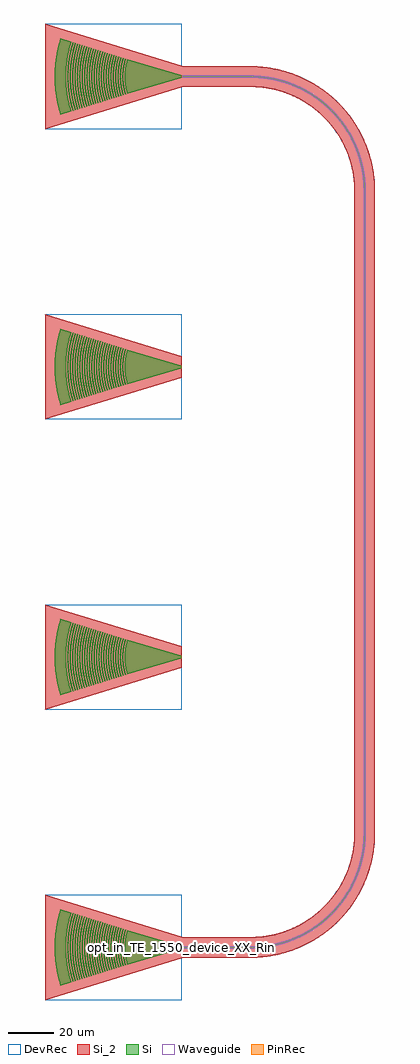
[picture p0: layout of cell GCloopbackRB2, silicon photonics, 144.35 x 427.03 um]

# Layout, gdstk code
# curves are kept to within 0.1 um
import gdstk
lib = gdstk.Library(unit=1e-6, precision=1e-09)
def R(c, l, rs):  # rectangles x0, y0, x1, y1
    for r in rs: c.add(gdstk.rectangle(r[:2], r[2:], *l))
def P(c, l, *ps):  # polygons
    for p in ps: c.add(gdstk.Polygon(p, *l))
Si = (1, 0)
Si_2 = (1, 2)
PinRec = (1, 10)
Waveguide = (1, 99)
DevRec = (68, 0)

waveguide_124 = lib.new_cell('Waveguide$124')
P(waveguide_124, Si, [(59.858,-0.5),(59.858,0.5),(90.747,0.508),(96.943,1.01),(101.737,1.946),(106.417,3.351),(110.531,5.023),(114.864,7.28),(119.668,10.482),(124.066,14.222),(127.999,18.448),(131.652,23.477),(134.455,28.523),(136.653,33.861),(138.214,39.419),(139.159,45.563),(139.358,50),(139.358,331),(139.26,334.108),(138.91,337.645),(137.803,343.31),(136.044,348.808),(133.657,354.064),(130.42,359.372),(126.841,363.902),(122.76,367.983),(118.23,371.562),(113.314,374.59),(108.903,376.69),(104.307,378.345),(99.57,379.538),(95.179,380.213),(90.303,380.498),(59.858,380.5),(59.858,381.5),(90.311,381.498),(94.385,381.297),(98.429,380.768),(102.856,379.799),(107.178,378.438),(110.949,376.885),(114.583,375.033),(118.056,372.894),(121.344,370.483),(124.756,367.502),(127.589,364.566),(130.174,361.412),(132.496,358.059),(134.751,354.128),(136.643,350.011),(138.025,346.173),(139.092,342.237),(139.9,337.779),(140.228,334.623),(140.358,331),(140.358,50),(140.155,45.473),(139.285,39.648),(137.599,33.535),(135.159,27.681),(132.252,22.56),(128.769,17.81),(124.756,13.498),(120.27,9.684),(114.976,6.19),(110.122,3.744),(105.464,1.972),(100.653,0.668),(95.737,-0.157),(90.311,-0.498)])
P(waveguide_124, Si_2, [(59.858,-4.5),(59.858,4.5),(90.676,4.507),(96.372,4.969),(101.57,6.033),(106.226,7.546),(111.059,9.741),(115.259,12.25),(119.487,15.469),(123.025,18.853),(126.18,22.596),(129.126,27.016),(131.367,31.367),(133.132,35.942),(134.392,40.674),(135.175,45.924),(135.358,50),(135.358,331),(135.094,335.893),(134.216,341.128),(132.737,346.222),(130.85,350.744),(128.494,355.031),(125.432,359.368),(122.175,363.029),(118.226,366.574),(113.889,369.636),(109.227,372.171),(105.843,373.6),(101.962,374.861),(97.979,375.769),(93.934,376.317),(90.267,376.498),(59.858,376.5),(59.858,385.5),(90.347,385.498),(94.746,385.281),(99.111,384.709),(103.884,383.665),(108.55,382.195),(112.619,380.52),(116.541,378.521),(120.293,376.21),(123.838,373.61),(127.519,370.394),(130.577,367.225),(133.37,363.818),(135.874,360.202),(138.307,355.959),(140.349,351.517),(141.84,347.377),(142.992,343.124),(143.797,338.798),(144.218,334.908),(144.358,331),(144.358,50),(144.139,45.112),(143.725,41.718),(143.098,38.35),(141.381,32.234),(138.962,26.356),(135.874,20.798),(133.948,17.964),(131.852,15.262),(127.519,10.606),(122.676,6.488),(117.392,2.966),(112.619,0.48),(107.624,-1.523),(102.459,-3.024),(96.691,-4.07),(90.347,-4.498)])
P(waveguide_124, Waveguide, [(59.858,-0.5),(59.858,0.5),(90.747,0.508),(96.943,1.01),(101.737,1.946),(106.417,3.351),(110.531,5.023),(114.864,7.28),(119.668,10.482),(124.066,14.222),(127.999,18.448),(131.652,23.477),(134.455,28.523),(136.653,33.861),(138.214,39.419),(139.159,45.563),(139.358,50),(139.358,331),(139.26,334.108),(138.91,337.645),(137.803,343.31),(136.044,348.808),(133.657,354.064),(130.42,359.372),(126.841,363.902),(122.76,367.983),(118.23,371.562),(113.314,374.59),(108.903,376.69),(104.307,378.345),(99.57,379.538),(95.179,380.213),(90.303,380.498),(59.858,380.5),(59.858,381.5),(90.311,381.498),(94.385,381.297),(98.429,380.768),(102.856,379.799),(107.178,378.438),(110.949,376.885),(114.583,375.033),(118.056,372.894),(121.344,370.483),(124.756,367.502),(127.589,364.566),(130.174,361.412),(132.496,358.059),(134.751,354.128),(136.643,350.011),(138.025,346.173),(139.092,342.237),(139.9,337.779),(140.228,334.623),(140.358,331),(140.358,50),(140.155,45.473),(139.285,39.648),(137.599,33.535),(135.159,27.681),(132.252,22.56),(128.769,17.81),(124.756,13.498),(120.27,9.684),(114.976,6.19),(110.122,3.744),(105.464,1.972),(100.653,0.668),(95.737,-0.157),(90.311,-0.498)])
P(waveguide_124, DevRec, [(59.858,-4.5),(59.858,4.5),(89.855,4.5),(92.321,4.566),(96,4.917),(100.838,5.845),(103.215,6.504),(106.7,7.732),(111.169,9.799),(115.392,12.341),(119.314,15.322),(122.892,18.71),(126.08,22.464),(128.845,26.542),(131.153,30.895),(133.354,36.643),(134.542,41.425),(135.208,46.308),(135.358,50),(135.358,331),(135.091,335.919),(134.294,340.782),(132.977,345.528),(131.153,350.105),(128.845,354.458),(126.08,358.536),(122.892,362.29),(121.148,364.034),(118.363,366.464),(114.361,369.338),(110.075,371.762),(105.548,373.709),(102.031,374.841),(98.433,375.684),(93.55,376.35),(89.855,376.5),(59.858,376.5),(59.858,385.5),(89.861,385.5),(94.282,385.32),(98.675,384.782),(103.012,383.889),(107.26,382.647),(111.394,381.065),(115.387,379.151),(119.211,376.92),(122.84,374.388),(127.338,370.566),(130.426,367.393),(133.246,363.982),(136.557,359.098),(138.684,355.215),(140.488,351.172),(141.958,346.995),(143.084,342.716),(143.859,338.358),(144.278,333.951),(144.358,331),(144.358,50),(144.178,45.576),(143.382,39.731),(141.958,34.005),(139.923,28.464),(138.684,25.785),(136.557,21.902),(133.246,17.018),(130.426,13.607),(128.395,11.463),(126.251,9.432),(122.84,6.612),(117.956,3.301),(114.073,1.174),(108.652,-1.157),(103.012,-2.889),(97.216,-4.001),(92.809,-4.42),(89.861,-4.5)])
waveguide_124.add(gdstk.FlexPath([(59.868,0),(59.848,0)], 1, ends="flush", simple_path=True, layer=1, datatype=10))  # PinRec
waveguide_124.add(gdstk.FlexPath([(59.868,381),(59.848,381)], 1, ends="flush", simple_path=True, layer=1, datatype=10))  # PinRec
waveguide_124.add(gdstk.Label('waveguide_type=Low-loss Bend Waveguide, w=1.0um r=50um', (59.858,-0.4), layer=68, texttype=0))
waveguide_124.add(gdstk.Label('Length=498.064 (microns)', (59.858,-1.2), layer=68, texttype=0))
waveguide_124.add(gdstk.Label('Spice_param:wg_length=0.000498064 wg_width=1e-06 points="[[59.858,0.0],[139.858,0.0],[139.858,381.0],[59.858,381.0]]" radius=5e-05', (59.858,0), layer=68, texttype=0))
waveguide_124.add(gdstk.Label('cellName=Waveguide', (59.858,0.4), layer=68, texttype=0))
waveguide_124.add(gdstk.Label('Component=ebeam_wg_integral_895', (59.858,0.2), layer=68, texttype=0))
waveguide_124.add(gdstk.Label('Lumerical_INTERCONNECT_library=Design kits/EBeam', (59.858,-0.2), layer=68, texttype=0))
waveguide_124.add(gdstk.Label('opt2', (59.858,381), layer=1, texttype=10))
waveguide_124.add(gdstk.Label('opt1', (59.858,0), layer=1, texttype=10))

bto_universal_gc_1 = lib.new_cell('BTO_Universal_GC$1')
P(bto_universal_gc_1, Si, [(-45.78,-14.397),(-46.717,-10.979),(-47.4,-7.502),(-47.859,-3.542),(-47.99,0),(-47.859,3.542),(-47.4,7.502),(-46.717,10.979),(-45.78,14.397),(-45.331,14.256),(-46.259,10.872),(-46.936,7.428),(-47.356,3.944),(-47.52,0),(-47.356,-3.944),(-46.936,-7.428),(-46.259,-10.872),(-45.331,-14.256)],
  [(-43.786,-13.77),(-44.695,-10.45),(-45.352,-7.072),(-45.754,-3.654),(-45.899,-0.215),(-45.787,3.225),(-45.352,7.072),(-44.695,10.45),(-43.786,13.77),(-43.337,13.629),(-44.237,10.343),(-44.887,7),(-45.286,3.616),(-45.429,0.213),(-45.317,-3.192),(-44.951,-6.578),(-44.332,-9.928),(-43.337,-13.629)],
  [(-42.789,-13.456),(-43.689,-10.161),(-44.335,-6.807),(-44.725,-3.413),(-44.855,0),(-44.725,3.413),(-44.335,6.807),(-43.689,10.161),(-42.789,13.457),(-42.34,13.315),(-43.231,10.055),(-43.871,6.736),(-44.256,3.378),(-44.385,0),(-44.256,-3.378),(-43.871,-6.736),(-43.231,-10.055),(-42.34,-13.315)],
  [(-41.792,-13.143),(-42.683,-9.873),(-43.319,-6.544),(-43.695,-3.175),(-43.809,-0.212),(-43.695,3.175),(-43.319,6.544),(-42.683,9.873),(-41.792,13.143),(-41.343,13.002),(-42.225,9.767),(-42.854,6.474),(-43.226,3.141),(-43.339,0.21),(-43.226,-3.141),(-42.854,-6.474),(-42.225,-9.767),(-41.343,-13.002)],
  [(-39.798,-12.516),(-40.565,-9.75),(-41.205,-6.534),(-41.591,-3.277),(-41.72,0),(-41.591,3.277),(-41.205,6.534),(-40.565,9.75),(-39.798,12.516),(-39.35,12.375),(-40.2,9.246),(-40.741,6.46),(-41.122,3.24),(-41.25,0),(-41.122,-3.24),(-40.741,-6.46),(-40.2,-9.246),(-39.35,-12.375)],
  [(-23.848,-7.5),(-24.723,-3.714),(-24.999,-0.162),(-24.723,3.714),(-23.848,7.5),(0,0.5),(0,-0.5)],
  [(-24.845,-7.813),(-25.368,-5.9),(-25.743,-3.953),(-25.969,-1.982),(-26.045,0),(-25.969,1.982),(-25.743,3.953),(-25.368,5.9),(-24.845,7.814),(-24.397,7.672),(-24.91,5.794),(-25.279,3.881),(-25.501,1.946),(-25.575,0),(-25.501,-1.946),(-25.279,-3.881),(-24.91,-5.794),(-24.397,-7.672)],
  [(-38.801,-12.202),(-39.652,-9.066),(-40.188,-6.273),(-40.561,-3.045),(-40.674,-0.203),(-40.561,3.045),(-40.249,5.871),(-39.652,9.066),(-38.801,12.203),(-38.353,12.061),(-39.102,9.352),(-39.724,6.201),(-40.06,3.41),(-40.204,0.201),(-40.092,-3.01),(-39.724,-6.201),(-39.102,-9.352),(-38.353,-12.061)],
  [(-25.842,-8.127),(-26.376,-6.178),(-26.763,-4.194),(-27.002,-2.187),(-27.089,-0.168),(-27.002,2.187),(-26.763,4.194),(-26.376,6.178),(-25.842,8.127),(-25.394,7.986),(-25.918,6.071),(-26.299,4.122),(-26.533,2.15),(-26.619,0.166),(-26.558,-1.819),(-26.299,-4.122),(-25.918,-6.071),(-25.394,-7.986)],
  [(-46.776,-14.71),(-47.823,-10.837),(-48.484,-7.331),(-48.889,-3.787),(-49.034,-0.223),(-48.889,3.787),(-48.484,7.331),(-47.823,10.837),(-46.776,14.711),(-46.328,14.569),(-47.364,10.733),(-48.019,7.261),(-48.42,3.751),(-48.564,0.221),(-48.42,-3.751),(-48.019,-7.261),(-47.364,-10.733),(-46.328,-14.569)],
  [(-44.783,-14.083),(-45.712,-10.688),(-46.384,-7.233),(-46.796,-3.737),(-46.944,-0.22),(-46.829,3.298),(-46.45,6.798),(-45.712,10.688),(-44.783,14.084),(-44.334,13.942),(-45.254,10.581),(-45.92,7.161),(-46.327,3.7),(-46.474,0.218),(-46.36,-3.265),(-45.92,-7.161),(-45.254,-10.581),(-44.334,-13.942)],
  [(-26.839,-8.44),(-27.384,-6.457),(-27.783,-4.439),(-28.033,-2.397),(-28.135,0),(-28.033,2.397),(-27.783,4.439),(-27.384,6.457),(-26.839,8.441),(-26.39,8.299),(-26.926,6.349),(-27.318,4.365),(-27.591,2.021),(-27.665,0),(-27.591,-2.021),(-27.318,-4.365),(-26.926,-6.349),(-26.39,-8.299)],
  [(-37.805,-11.889),(-38.554,-9.174),(-39.171,-6.014),(-39.53,-2.815),(-39.63,0),(-39.53,2.815),(-39.171,6.014),(-38.554,9.174),(-37.805,11.889),(-37.356,11.748),(-38.096,9.065),(-38.706,5.943),(-39.031,3.178),(-39.16,0),(-39.031,-3.178),(-38.706,-5.943),(-38.096,-9.065),(-37.356,-11.748)],
  [(-30.827,-9.694),(-31.412,-7.587),(-31.913,-5.084),(-32.214,-2.55),(-32.315,0),(-32.214,2.55),(-31.913,5.084),(-31.412,7.587),(-30.827,9.695),(-30.378,9.553),(-31.037,7.126),(-31.503,4.655),(-31.772,2.155),(-31.845,0),(-31.772,-2.155),(-31.503,-4.655),(-31.037,-7.126),(-30.378,-9.553)],
  [(-47.773,-15.024),(-48.727,-11.563),(-49.5,-7.6),(-49.917,-4.035),(-50.08,0),(-49.917,4.035),(-49.5,7.6),(-48.727,11.563),(-47.773,15.024),(-47.325,14.883),(-48.37,11.022),(-49.035,7.529),(-49.482,3.554),(-49.61,0),(-49.482,-3.554),(-49.035,-7.529),(-48.37,-11.022),(-47.325,-14.883)],
  [(-40.795,-12.829),(-41.677,-9.585),(-42.301,-6.282),(-42.664,-2.94),(-42.765,0),(-42.664,2.94),(-42.301,6.282),(-41.677,9.585),(-40.795,12.83),(-40.347,12.688),(-41.219,9.48),(-41.773,6.624),(-42.164,3.322),(-42.295,0),(-42.164,-3.322),(-41.773,-6.624),(-41.219,-9.48),(-40.347,-12.688)],
  [(-27.836,-8.754),(-28.391,-6.738),(-28.801,-4.687),(-29.063,-2.611),(-29.179,-0.174),(-29.117,1.916),(-28.855,4.342),(-28.47,6.398),(-27.836,8.754),(-27.387,8.613),(-27.934,6.629),(-28.337,4.611),(-28.595,2.569),(-28.709,0.172),(-28.648,-1.885),(-28.39,-4.272),(-27.934,-6.629),(-27.387,-8.613)],
  [(-36.808,-11.575),(-37.548,-8.886),(-38.092,-6.151),(-38.469,-2.986),(-38.584,-0.199),(-38.498,2.588),(-38.153,5.757),(-37.638,8.498),(-36.808,11.576),(-36.359,11.434),(-37.179,8.395),(-37.688,5.687),(-38,2.95),(-38.114,0.197),(-38.029,-2.557),(-37.688,-5.687),(-37.179,-8.395),(-36.359,-11.434)],
  [(-34.814,-10.948),(-35.524,-8.361),(-36.043,-5.728),(-36.366,-3.064),(-36.495,0),(-36.366,3.064),(-36.043,5.728),(-35.524,8.361),(-34.814,10.949),(-34.365,10.807),(-35.067,8.253),(-35.636,5.28),(-35.927,2.647),(-36.025,0),(-35.927,-2.647),(-35.636,-5.28),(-35.067,-8.253),(-34.365,-10.807)],
  [(-31.823,-10.008),(-32.503,-7.512),(-32.988,-4.971),(-33.274,-2.4),(-33.359,-0.185),(-33.274,2.4),(-32.988,4.971),(-32.503,7.512),(-31.823,10.008),(-31.375,9.867),(-32.045,7.406),(-32.523,4.901),(-32.776,2.73),(-32.889,0.182),(-32.804,-2.367),(-32.523,-4.901),(-32.045,-7.406),(-31.375,-9.867)],
  [(-35.811,-11.262),(-36.542,-8.6),(-37.135,-5.502),(-37.439,-2.758),(-37.54,0),(-37.439,2.758),(-37.135,5.502),(-36.542,8.6),(-35.811,11.262),(-35.362,11.121),(-36.084,8.492),(-36.61,5.818),(-36.97,2.724),(-37.07,0),(-36.97,-2.724),(-36.61,-5.818),(-36.084,-8.492),(-35.362,-11.121)],
  [(-53.091,-16.696),(-54.235,-12.49),(-54.973,-8.685),(-55.484,-4.356),(-55.655,0),(-55.484,4.356),(-54.973,8.685),(-54.235,12.49),(-53.091,16.696),(-48.322,15.196),(-49.363,11.368),(-50.101,7.469),(-50.532,3.525),(-50.655,0),(-50.532,-3.525),(-50.101,-7.469),(-49.363,-11.368),(-48.322,-15.196)],
  [(-28.833,-9.067),(-29.399,-7.019),(-29.875,-4.587),(-30.123,-2.477),(-30.225,0),(-30.123,2.477),(-29.875,4.587),(-29.399,7.019),(-28.833,9.068),(-28.384,8.926),(-29.02,6.571),(-29.41,4.516),(-29.655,2.438),(-29.755,0),(-29.655,-2.438),(-29.41,-4.516),(-29.02,-6.571),(-28.384,-8.926)],
  [(-29.83,-9.381),(-30.487,-6.952),(-30.894,-4.834),(-31.183,-2.335),(-31.269,-0.18),(-31.183,2.335),(-30.948,4.479),(-30.487,6.952),(-29.83,9.381),(-29.381,9.24),(-30.029,6.848),(-30.429,4.762),(-30.714,2.3),(-30.799,0.177),(-30.714,-2.3),(-30.482,-4.411),(-30.029,-6.848),(-29.381,-9.24)],
  [(-32.82,-10.321),(-33.511,-7.794),(-34.007,-5.221),(-34.305,-2.618),(-34.405,0),(-34.305,2.618),(-34.007,5.221),(-33.511,7.794),(-32.82,10.322),(-32.372,10.18),(-33.053,7.687),(-33.542,5.15),(-33.836,2.582),(-33.935,0),(-33.836,-2.582),(-33.542,-5.15),(-33.053,-7.687),(-32.372,-10.18)],
  [(-33.817,-10.635),(-34.518,-8.077),(-35.025,-5.473),(-35.336,-2.839),(-35.449,-0.189),(-35.336,2.839),(-35.025,5.473),(-34.518,8.077),(-33.817,10.635),(-33.369,10.494),(-34.06,7.97),(-34.56,5.401),(-34.867,2.802),(-34.979,0.187),(-34.895,-2.429),(-34.616,-5.031),(-34.06,-7.97),(-33.369,-10.494)])
P(bto_universal_gc_1, Si_2, [(-59.848,-23.014),(-59.848,23.014),(0,4.693),(0,-4.693)])
R(bto_universal_gc_1, DevRec, [(-59.848,-23.014,0,23.014)])
bto_universal_gc_1.add(gdstk.FlexPath([(-0.01,0),(0.01,0)], 1, ends="flush", simple_path=True, layer=1, datatype=10))  # PinRec
bto_universal_gc_1.add(gdstk.Label('Length=276.897 (microns)', (-59.848,16.014), layer=68, texttype=0))
bto_universal_gc_1.add(gdstk.Label('Component_ID=2', (-59.848,18.014), layer=68, texttype=0))
bto_universal_gc_1.add(gdstk.Label('cellName=BTO_Universal_GC', (-59.848,19.014), layer=68, texttype=0))
bto_universal_gc_1.add(gdstk.Label('Lumerical_INTERCONNECT_component=BTO_Universal_GC', (-59.848,20.014), layer=68, texttype=0))
bto_universal_gc_1.add(gdstk.Label('Spice_param:wg_length=0.000276897 wg_width=5e-07 points=[[-42.81,125.25],[33.69,125.25],[33.69,-1.75],[-42.81,-1.75]] radius=5e-06', (-59.848,17.014), layer=68, texttype=0))
bto_universal_gc_1.add(gdstk.Label('Component=BTO_Universal_GC', (-59.848,21.014), layer=68, texttype=0))
bto_universal_gc_1.add(gdstk.Label('Lumerical_INTERCONNECT_library=Design kits/Shallow_Etch_BTO', (-59.848,22.014), layer=68, texttype=0))
bto_universal_gc_1.add(gdstk.Label('opt1', (0,0), layer=1, texttype=10))

gcloopbackrb2 = lib.new_cell('GCloopbackRB2')
gcloopbackrb2.add(gdstk.Reference(waveguide_124, (0,0)))
gcloopbackrb2.add(gdstk.Reference(bto_universal_gc_1, (59.858,0)))
gcloopbackrb2.add(gdstk.Reference(bto_universal_gc_1, (59.858,127)))
gcloopbackrb2.add(gdstk.Reference(bto_universal_gc_1, (59.858,254)))
gcloopbackrb2.add(gdstk.Reference(bto_universal_gc_1, (59.858,381)))
gcloopbackrb2.add(gdstk.Label('opt_in_TE_1550_device_XX_Ringsweep_GCloopbackRB2', (59.858,0), layer=10, texttype=0))

lib.write_gds('GCloopbackRB2.gds')
